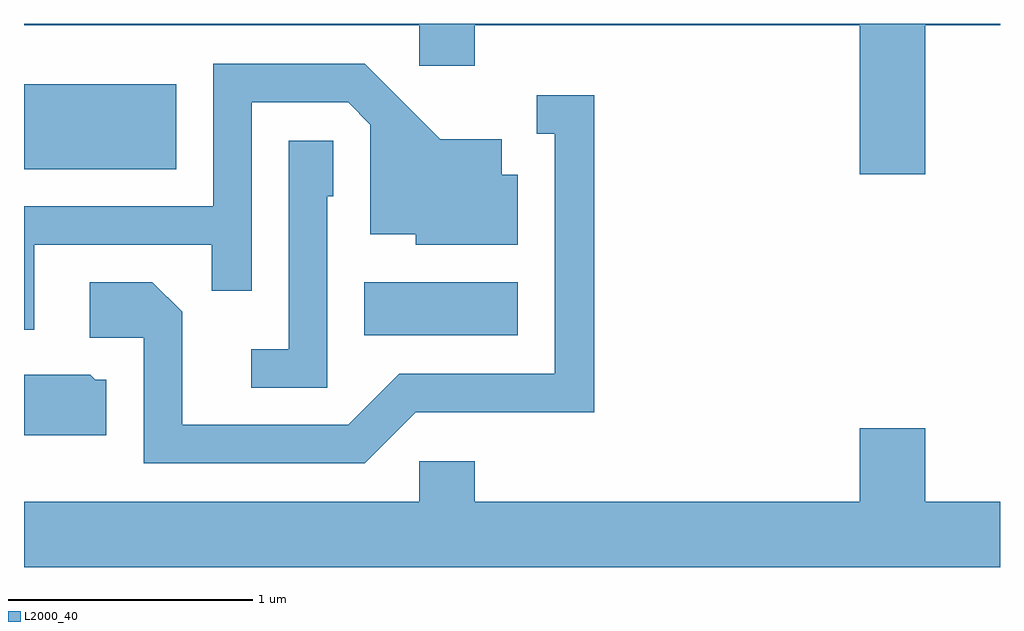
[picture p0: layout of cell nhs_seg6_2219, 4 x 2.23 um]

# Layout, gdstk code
import gdstk
lib = gdstk.Library(unit=1e-6, precision=1e-09)
def R(c, l, rs):  # rectangles x0, y0, x1, y1
    for r in rs: c.add(gdstk.rectangle(r[:2], r[2:], *l))
def P(c, l, *ps):  # polygons
    for p in ps: c.add(gdstk.Polygon(p, *l))
L2000_40 = (2000, 40)

nhs_seg6_2219 = lib.new_cell('nhs_seg6_2219')
R(nhs_seg6_2219, L2000_40, [(253.006,1650.886,253.634,1651.104), (251.611,1651.566,252.234,1651.914)])
P(nhs_seg6_2219, L2000_40, [(255.304,1652.156),(255.611,1652.156),(255.611,1652.162),(251.611,1652.162),(251.611,1652.156),(253.231,1652.156),(253.231,1651.991),(253.459,1651.991),(253.459,1652.156),(255.036,1652.156),(255.036,1651.546),(255.304,1651.546)],
  [(251.654,1651.256),(252.381,1651.256),(252.381,1651.068),(252.544,1651.068),(252.544,1651.841),(252.939,1651.841),(253.031,1651.749),(253.031,1651.301),(253.216,1651.301),(253.216,1651.256),(253.634,1651.256),(253.634,1651.544),(253.569,1651.544),(253.569,1651.689),(253.317,1651.689),(253.007,1651.999),(252.386,1651.999),(252.386,1651.414),(251.611,1651.414),(251.611,1650.908),(251.654,1650.908)],
  [(253.217,1650.571),(253.949,1650.571),(253.949,1651.869),(253.713,1651.869),(253.713,1651.711),(253.786,1651.711),(253.786,1650.729),(253.149,1650.729),(252.939,1650.519),(252.259,1650.519),(252.259,1650.982),(252.137,1651.104),(251.881,1651.104),(251.881,1650.876),(252.101,1650.876),(252.101,1650.361),(253.007,1650.361)],
  [(252.854,1651.456),(252.879,1651.456),(252.879,1651.684),(252.696,1651.684),(252.696,1650.829),(252.543,1650.829),(252.543,1650.671),(252.854,1650.671)],
  [(251.949,1650.704),(251.902,1650.704),(251.882,1650.724),(251.611,1650.724),(251.611,1650.476),(251.949,1650.476)],
  [(255.611,1650.204),(255.304,1650.204),(255.304,1650.504),(255.036,1650.504),(255.036,1650.204),(253.459,1650.204),(253.459,1650.369),(253.231,1650.369),(253.231,1650.204),(251.611,1650.204),(251.611,1649.936),(255.611,1649.936)])

lib.write_gds('nhs_seg6_2219.gds')
